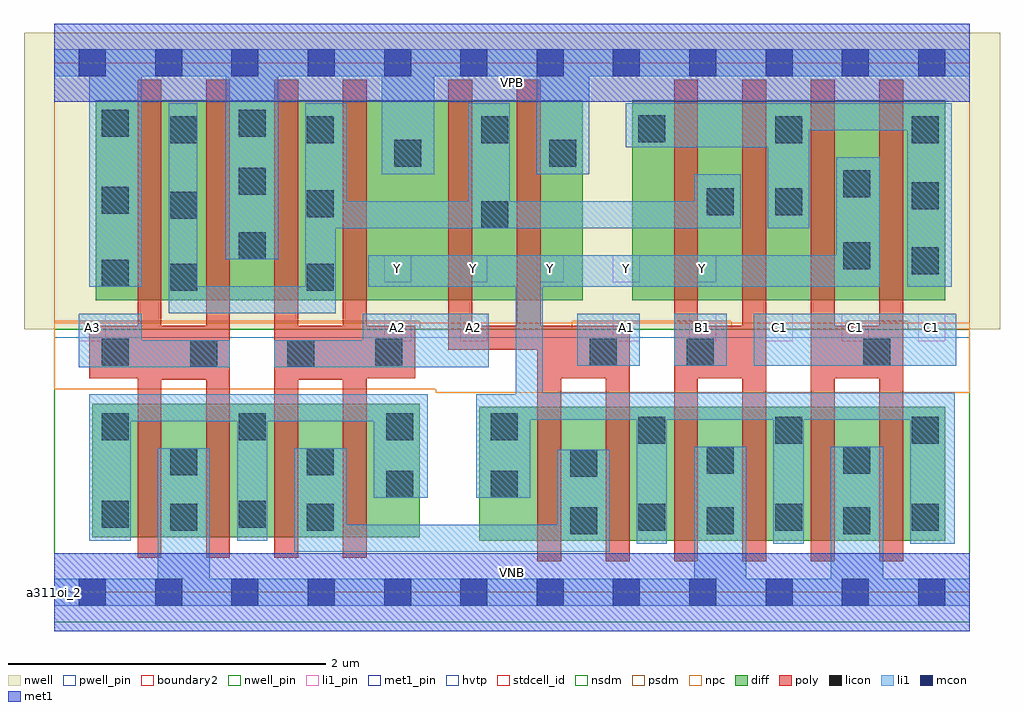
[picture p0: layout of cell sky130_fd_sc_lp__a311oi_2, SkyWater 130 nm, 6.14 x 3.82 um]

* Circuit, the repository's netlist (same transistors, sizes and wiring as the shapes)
* Copyright 2020 The SkyWater PDK Authors
*
* Licensed under the Apache License, Version 2.0 (the "License");
* you may not use this file except in compliance with the License.
* You may obtain a copy of the License at
*
*     https://www.apache.org/licenses/LICENSE-2.0
*
* Unless required by applicable law or agreed to in writing, software
* distributed under the License is distributed on an "AS IS" BASIS,
* WITHOUT WARRANTIES OR CONDITIONS OF ANY KIND, either express or implied.
* See the License for the specific language governing permissions and
* limitations under the License.
*
* SPDX-License-Identifier: Apache-2.0

.SUBCKT sky130_fd_sc_lp__a311oi_2 A1 A2 A3 B1 C1 VGND VNB VPB VPWR Y
*.PININFO A1:I A2:I A3:I B1:I C1:I VGND:I VNB:I VPB:I VPWR:I Y:O
MMPA0 pndA A1 VPWR VPB sky130_fd_pr__pfet_01v8_hvt m=2 w=1.26U l=0.15U mult=1 sa=0.265
+ sb=0.265 sd=0.28 area=0.063 perim=1.14
MMPA1 pndA A2 VPWR VPB sky130_fd_pr__pfet_01v8_hvt m=2 w=1.26U l=0.15U mult=1 sa=0.265
+ sb=0.265 sd=0.28 area=0.063 perim=1.14
MMPA2 pndA A3 VPWR VPB sky130_fd_pr__pfet_01v8_hvt m=2 w=1.26U l=0.15U mult=1 sa=0.265
+ sb=0.265 sd=0.28 area=0.063 perim=1.14
MMPB0 pndB B1 pndA VPB sky130_fd_pr__pfet_01v8_hvt m=2 w=1.26U l=0.15U mult=1 sa=0.265
+ sb=0.265 sd=0.28 area=0.063 perim=1.14
MMPC0 Y C1 pndB VPB sky130_fd_pr__pfet_01v8_hvt m=2 w=1.26U l=0.15U mult=1 sa=0.265
+ sb=0.265 sd=0.28 area=0.063 perim=1.14
MMNA0 Y A1 sndA1 VNB sky130_fd_pr__nfet_01v8 m=2 w=0.84U l=0.15U mult=1 sa=0.265
+ sb=0.265 sd=0.28 area=0.063 perim=1.14
MMNA1 sndA1 A2 sndA2 VNB sky130_fd_pr__nfet_01v8 m=2 w=0.84U l=0.15U mult=1 sa=0.265
+ sb=0.265 sd=0.28 area=0.063 perim=1.14
MMNA2 sndA2 A3 VGND VNB sky130_fd_pr__nfet_01v8 m=2 w=0.84U l=0.15U mult=1 sa=0.265
+ sb=0.265 sd=0.28 area=0.063 perim=1.14
MMNB0 Y B1 VGND VNB sky130_fd_pr__nfet_01v8 m=2 w=0.84U l=0.15U mult=1 sa=0.265
+ sb=0.265 sd=0.28 area=0.063 perim=1.14
MMNC0 Y C1 VGND VNB sky130_fd_pr__nfet_01v8 m=2 w=0.84U l=0.15U mult=1 sa=0.265
+ sb=0.265 sd=0.28 area=0.063 perim=1.14
.ENDS sky130_fd_sc_lp__a311oi_2

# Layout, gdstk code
import gdstk
lib = gdstk.Library(unit=1e-6, precision=1e-09)
def R(c, l, rs):  # rectangles x0, y0, x1, y1
    for r in rs: c.add(gdstk.rectangle(r[:2], r[2:], *l))
def A(c, l, x, y, w, h, nx, ny, dx, dy):  # array of equal rectangles
    R(c, l, [(x+i*dx, y+j*dy, x+i*dx+w, y+j*dy+h) for i in range(nx) for j in range(ny)])
def P(c, l, *ps):  # polygons
    for p in ps: c.add(gdstk.Polygon(p, *l))
nwell_pin = (64, 16)
nwell = (64, 20)
diff = (65, 20)
poly = (66, 20)
licon = (66, 44)
li1_pin = (67, 16)
li1 = (67, 20)
mcon = (67, 44)
met1_pin = (68, 16)
met1 = (68, 20)
hvtp = (78, 44)
stdcell_id = (81, 4)
nsdm = (93, 44)
psdm = (94, 20)
npc = (95, 20)
pwell_pin = (122, 16)
boundary2 = (236, 0)

sky130_fd_sc_lp__a311oi_ = lib.new_cell('sky130_fd_sc_lp__a311oi_2')
R(sky130_fd_sc_lp__a311oi_, nwell_pin, [(0,3.085,5.76,3.33)])
R(sky130_fd_sc_lp__a311oi_, nwell, [(-0.19,1.655,5.95,3.52)])
R(sky130_fd_sc_lp__a311oi_, diff, [(2.675,0.325,5.605,1.165), (0.24,0.345,2.3,1.185), (0.26,1.835,3.325,3.095), (3.635,1.835,5.605,3.095)])
P(sky130_fd_sc_lp__a311oi_, poly, [(1.105,3.225),(0.955,3.225),(0.955,1.675),(0.675,1.675),(0.675,3.225),(0.525,3.225),(0.525,1.675),(0.22,1.675),(0.22,1.345),(0.525,1.345),(0.525,0.215),(0.675,0.215),(0.675,1.335),(0.955,1.335),(0.955,0.215),(1.105,0.215)],
  [(2.27,1.675),(1.965,1.675),(1.965,3.225),(1.815,3.225),(1.815,1.675),(1.535,1.675),(1.535,3.225),(1.385,3.225),(1.385,0.215),(1.535,0.215),(1.535,1.335),(1.815,1.335),(1.815,0.215),(1.965,0.215),(1.965,1.345),(2.27,1.345)],
  [(3.62,1.675),(3.06,1.675),(3.06,3.225),(2.91,3.225),(2.91,1.675),(2.63,1.675),(2.63,3.225),(2.48,3.225),(2.48,1.525),(3.04,1.525),(3.04,0.195),(3.19,0.195),(3.19,1.345),(3.47,1.345),(3.47,0.195),(3.62,0.195)],
  [(4.48,3.225),(4.33,3.225),(4.33,1.675),(4.05,1.675),(4.05,3.225),(3.9,3.225),(3.9,0.195),(4.05,0.195),(4.05,1.345),(4.33,1.345),(4.33,0.195),(4.48,0.195)],
  [(5.34,3.225),(5.19,3.225),(5.19,1.675),(4.91,1.675),(4.91,3.225),(4.76,3.225),(4.76,0.195),(4.91,0.195),(4.91,1.345),(5.19,1.345),(5.19,0.195),(5.34,0.195)])
A(sky130_fd_sc_lp__a311oi_, licon, 3.245, 0.365, 0.17, 0.17, 3, 1, 0.86, 0)
A(sky130_fd_sc_lp__a311oi_, licon, 3.675, 0.385, 0.17, 0.17, 3, 2, 0.86, 0.55)
A(sky130_fd_sc_lp__a311oi_, licon, 1.59, 1.895, 0.17, 0.17, 1, 3, 0, 0.465)
R(sky130_fd_sc_lp__a311oi_, licon, [(0.73,0.385,0.9,0.555), (1.59,0.385,1.76,0.555), (0.3,0.405,0.47,0.575), (1.16,0.405,1.33,0.575), (2.09,0.595,2.26,0.765), (2.745,0.595,2.915,0.765), (3.245,0.725,3.415,0.895), (0.73,0.735,0.9,0.905), (1.59,0.735,1.76,0.905), (4.105,0.745,4.275,0.915), (4.965,0.745,5.135,0.915), (0.3,0.955,0.47,1.125), (1.16,0.955,1.33,1.125), (2.09,0.955,2.26,1.125), (2.745,0.955,2.915,1.125), (0.855,1.415,1.025,1.585), (1.465,1.415,1.635,1.585), (0.3,1.425,0.47,1.595), (2.02,1.425,2.19,1.595), (3.37,1.425,3.54,1.595), (3.98,1.425,4.15,1.595), (5.09,1.425,5.26,1.595), (0.73,1.895,0.9,2.065), (0.3,1.92,0.47,2.09), (5.395,2,5.565,2.17), (4.965,2.03,5.135,2.2), (1.16,2.095,1.33,2.265), (2.685,2.29,2.855,2.46), (0.73,2.35,0.9,2.52), (4.105,2.37,4.275,2.54), (4.535,2.37,4.705,2.54), (0.3,2.38,0.47,2.55), (5.395,2.41,5.565,2.58), (4.965,2.485,5.135,2.655), (1.16,2.5,1.33,2.67), (2.14,2.675,2.31,2.845), (3.115,2.675,3.285,2.845), (0.73,2.825,0.9,2.995), (2.685,2.825,2.855,2.995), (4.535,2.825,4.705,2.995), (5.395,2.825,5.565,2.995), (3.675,2.83,3.845,3), (0.3,2.865,0.47,3.035), (1.16,2.865,1.33,3.035)])
A(sky130_fd_sc_lp__a311oi_, li1_pin, 3.515, 1.58, 0.17, 0.17, 5, 1, 0.48, 0)
A(sky130_fd_sc_lp__a311oi_, li1_pin, 2.075, 1.95, 0.17, 0.17, 5, 1, 0.48, 0)
R(sky130_fd_sc_lp__a311oi_, li1_pin, [(0.155,1.58,0.325,1.75), (2.075,1.58,2.245,1.75), (2.555,1.58,2.725,1.75)])
R(sky130_fd_sc_lp__a311oi_, li1, [(3.29,1.425,3.685,1.75), (3.9,1.425,4.23,1.75), (4.4,1.425,5.675,1.75)])
P(sky130_fd_sc_lp__a311oi_, li1, [(3.035,2.63),(3.035,3.245),(2.39,3.245),(2.39,2.63),(2.06,2.63),(2.06,3.245),(1.41,3.245),(1.41,2.095),(1.08,2.095),(1.08,3.245),(0.55,3.245),(0.55,1.92),(0.22,1.92),(0.22,3.245),(0,3.245),(0,3.415),(5.76,3.415),(5.76,3.245),(3.365,3.245),(3.365,2.63)],
  [(4.025,0.085),(4.025,0.915),(4.355,0.915),(4.355,0.085),(4.885,0.085),(4.885,0.915),(5.215,0.915),(5.215,0.085),(5.76,0.085),(5.76,-0.085),(0,-0.085),(0,0.085),(0.65,0.085),(0.65,0.905),(0.98,0.905),(0.98,0.085)],
  [(4.92,2.12),(4.92,2.735),(5.195,2.735),(5.195,1.92),(3.075,1.92),(3.075,1.255),(5.665,1.255),(5.665,0.305),(5.385,0.305),(5.385,1.085),(4.715,1.085),(4.715,0.305),(4.525,0.305),(4.525,1.085),(3.855,1.085),(3.855,0.305),(3.665,0.305),(3.665,1.085),(2.995,1.085),(2.995,0.595),(2.655,0.595),(2.655,1.245),(2.905,1.245),(2.905,1.92),(1.975,1.92),(1.975,2.12)],
  [(2.735,1.75),(1.94,1.75),(1.94,1.585),(1.385,1.585),(1.385,1.415),(2.735,1.415)],
  [(1.105,1.585),(0.55,1.585),(0.55,1.75),(0.155,1.75),(0.155,1.415),(1.105,1.415)],
  [(5.365,2.905),(4.75,2.905),(4.75,2.29),(4.49,2.29),(4.49,2.8),(3.595,2.8),(3.595,3.075),(5.645,3.075),(5.645,1.92),(5.365,1.92)],
  [(2.865,2.46),(4.025,2.46),(4.025,2.63),(4.32,2.63),(4.32,2.29),(1.77,2.29),(1.77,1.755),(0.72,1.755),(0.72,3.075),(0.9,3.075),(0.9,1.925),(1.58,1.925),(1.58,3.075),(1.84,3.075),(1.84,2.46),(2.605,2.46),(2.605,3.075),(2.865,3.075)],
  [(1.84,0.425),(3.165,0.425),(3.165,0.895),(3.495,0.895),(3.495,0.255),(1.51,0.255),(1.51,0.905),(1.84,0.905)],
  [(2.01,1.075),(1.34,1.075),(1.34,0.325),(1.15,0.325),(1.15,1.075),(0.48,1.075),(0.48,0.325),(0.22,0.325),(0.22,1.245),(2.35,1.245),(2.35,0.595),(2.01,0.595)])
A(sky130_fd_sc_lp__a311oi_, mcon, 0.155, -0.085, 0.17, 0.17, 12, 2, 0.48, 3.33)
R(sky130_fd_sc_lp__a311oi_, met1_pin, [(0,0,5.76,0.245), (0,3.085,5.76,3.33)])
R(sky130_fd_sc_lp__a311oi_, met1, [(0,-0.245,5.76,0.245), (0,3.085,5.76,3.575)])
R(sky130_fd_sc_lp__a311oi_, hvtp, [(0,1.6,5.76,3.33)])
R(sky130_fd_sc_lp__a311oi_, stdcell_id, [(0,0,5.76,3.33)])
R(sky130_fd_sc_lp__a311oi_, nsdm, [(0,-0.19,5.76,1.655)])
P(sky130_fd_sc_lp__a311oi_, psdm, [(5.76,3.52),(0,3.52),(0,1.705),(2.3,1.705),(2.3,1.655),(3.26,1.655),(3.26,1.705),(4.26,1.705),(4.26,1.655),(4.98,1.655),(4.98,1.705),(5.37,1.705),(5.37,1.655),(5.76,1.655)])
P(sky130_fd_sc_lp__a311oi_, npc, [(5.76,1.695),(0,1.695),(0,1.275),(2.4,1.275),(2.4,1.255),(5.76,1.255)])
R(sky130_fd_sc_lp__a311oi_, pwell_pin, [(0,0,5.76,0.245)])
R(sky130_fd_sc_lp__a311oi_, boundary2, [(0,0,5.76,3.33)])
sky130_fd_sc_lp__a311oi_.add(gdstk.Label('VNB', (2.88,0.123), layer=64, texttype=59))
sky130_fd_sc_lp__a311oi_.add(gdstk.Label('VPB', (2.88,3.208), layer=64, texttype=5))
sky130_fd_sc_lp__a311oi_.add(gdstk.Label('a311oi_2', (0,0), layer=83, texttype=44))
sky130_fd_sc_lp__a311oi_.add(gdstk.Label('VPWR', (2.88,3.208), layer=68, texttype=5))
sky130_fd_sc_lp__a311oi_.add(gdstk.Label('VGND', (2.88,0.123), layer=68, texttype=5))
sky130_fd_sc_lp__a311oi_.add(gdstk.Label('Y', (2.16,2.035), layer=67, texttype=5))
sky130_fd_sc_lp__a311oi_.add(gdstk.Label('Y', (2.64,2.035), layer=67, texttype=5))
sky130_fd_sc_lp__a311oi_.add(gdstk.Label('Y', (3.12,2.035), layer=67, texttype=5))
sky130_fd_sc_lp__a311oi_.add(gdstk.Label('Y', (3.6,2.035), layer=67, texttype=5))
sky130_fd_sc_lp__a311oi_.add(gdstk.Label('Y', (4.08,2.035), layer=67, texttype=5))
sky130_fd_sc_lp__a311oi_.add(gdstk.Label('A1', (3.6,1.665), layer=67, texttype=5))
sky130_fd_sc_lp__a311oi_.add(gdstk.Label('A2', (2.16,1.665), layer=67, texttype=5))
sky130_fd_sc_lp__a311oi_.add(gdstk.Label('A2', (2.64,1.665), layer=67, texttype=5))
sky130_fd_sc_lp__a311oi_.add(gdstk.Label('A3', (0.24,1.665), layer=67, texttype=5))
sky130_fd_sc_lp__a311oi_.add(gdstk.Label('B1', (4.08,1.665), layer=67, texttype=5))
sky130_fd_sc_lp__a311oi_.add(gdstk.Label('C1', (4.56,1.665), layer=67, texttype=5))
sky130_fd_sc_lp__a311oi_.add(gdstk.Label('C1', (5.04,1.665), layer=67, texttype=5))
sky130_fd_sc_lp__a311oi_.add(gdstk.Label('C1', (5.52,1.665), layer=67, texttype=5))

lib.write_gds('sky130_fd_sc_lp__a311oi_2.gds')
